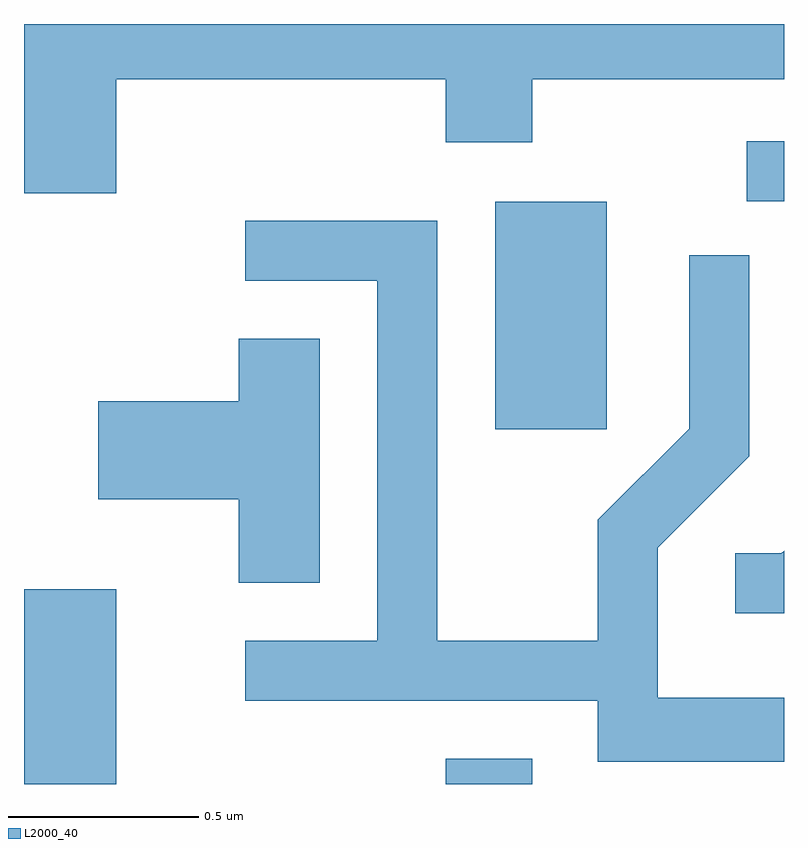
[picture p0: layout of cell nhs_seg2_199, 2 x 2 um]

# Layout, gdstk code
import gdstk
lib = gdstk.Library(unit=1e-6, precision=1e-09)
def R(c, l, rs):  # rectangles x0, y0, x1, y1
    for r in rs: c.add(gdstk.rectangle(r[:2], r[2:], *l))
def P(c, l, *ps):  # polygons
    for p in ps: c.add(gdstk.Polygon(p, *l))
L2000_40 = (2000, 40)

nhs_seg2_199 = lib.new_cell('nhs_seg2_199')
R(nhs_seg2_199, L2000_40, [(186.611,1039.802,186.854,1040.314), (187.721,1039.802,187.949,1039.869), (187.851,1040.736,188.144,1041.334), (188.513,1041.336,188.611,1041.494)])
P(nhs_seg2_199, L2000_40, [(186.854,1041.656),(187.721,1041.656),(187.721,1041.491),(187.949,1041.491),(187.949,1041.656),(188.611,1041.656),(188.611,1041.802),(186.611,1041.802),(186.611,1041.356),(186.854,1041.356)],
  [(188.611,1040.029),(188.279,1040.029),(188.279,1040.424),(188.519,1040.664),(188.519,1041.193),(188.361,1041.193),(188.361,1040.737),(188.121,1040.497),(188.121,1040.179),(187.699,1040.179),(187.699,1041.284),(187.193,1041.284),(187.193,1041.126),(187.541,1041.126),(187.541,1040.179),(187.193,1040.179),(187.193,1040.021),(188.121,1040.021),(188.121,1039.861),(188.611,1039.861)],
  [(187.389,1040.974),(187.176,1040.974),(187.176,1040.809),(186.806,1040.809),(186.806,1040.551),(187.176,1040.551),(187.176,1040.331),(187.389,1040.331)],
  [(188.611,1040.416),(188.604,1040.409),(188.483,1040.409),(188.483,1040.251),(188.611,1040.251)])

lib.write_gds('nhs_seg2_199.gds')
